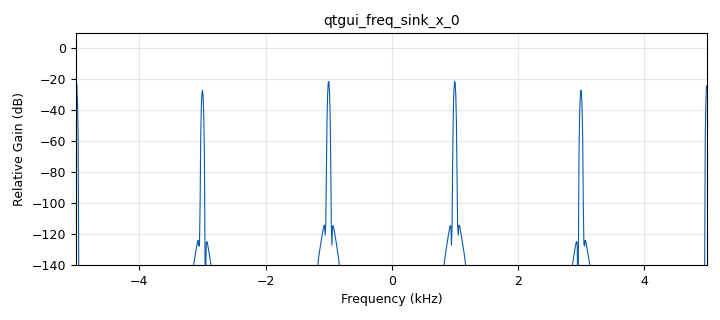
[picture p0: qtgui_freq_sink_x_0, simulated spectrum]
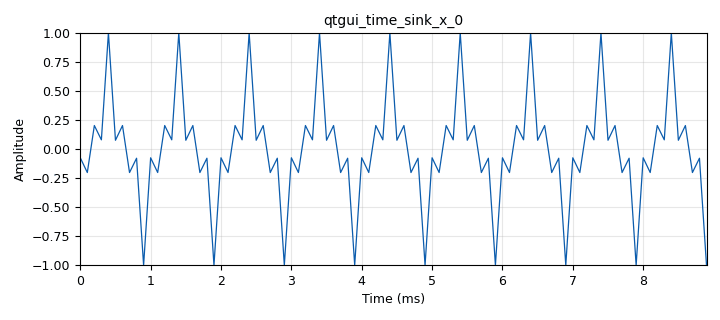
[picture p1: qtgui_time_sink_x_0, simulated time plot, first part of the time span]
options:
  parameters:
    author: J1A-5
    generate_options: qt_gui
    id: multiply
    output_language: python
    title: multiply
  states: {}

blocks:
- name: freq_a
  id: variable_qtgui_range
  parameters:
    label: Frecuencia de Muestreo1
    start: '1000'
    step: '1000'
    stop: '40000'
    value: '1000'
  states: {}
- name: freq_b
  id: variable_qtgui_range
  parameters:
    label: Frecuencia de Muestreo2
    start: '1000'
    step: '1000'
    stop: '40000'
    value: '2000'
  states: {}
- name: freq_c
  id: variable_qtgui_range
  parameters:
    label: Frecuencia de Muestreo3
    start: '1000'
    step: '1000'
    stop: '40000'
    value: '2000'
  states: {}
- name: samp_rate
  id: variable
  parameters:
    value: '10000'
  states: {}
- name: analog_sig_source_x_0
  id: analog_sig_source_x
  parameters:
    amp: '1'
    freq: freq_c
    offset: '0'
    phase: '0'
    samp_rate: samp_rate
    type: float
    waveform: analog.GR_COS_WAVE
  states: {}
- name: analog_sig_source_x_0_0
  id: analog_sig_source_x
  parameters:
    amp: '1'
    freq: freq_a
    offset: '0'
    phase: '0'
    samp_rate: samp_rate
    type: float
    waveform: analog.GR_COS_WAVE
  states: {}
- name: analog_sig_source_x_0_1
  id: analog_sig_source_x
  parameters:
    amp: '1'
    freq: freq_b
    offset: '0'
    phase: '0'
    samp_rate: samp_rate
    type: float
    waveform: analog.GR_COS_WAVE
  states: {}
- name: blocks_multiply_xx_0
  id: blocks_multiply_xx
  parameters:
    num_inputs: '3'
    type: float
  states: {}
- name: blocks_throttle_0
  id: blocks_throttle
  parameters:
    samples_per_second: samp_rate
    type: float
  states: {}
- name: qtgui_freq_sink_x_0
  id: qtgui_freq_sink_x
  parameters:
    average: '0.05'
    bw: samp_rate
    fc: '0'
    fftsize: '1024'
    type: float
  states: {}
- name: qtgui_time_sink_x_0
  id: qtgui_time_sink_x
  parameters:
    size: '1024'
    srate: samp_rate
    type: float
  states: {}

connections:
- [analog_sig_source_x_0, '0', blocks_multiply_xx_0, '2']
- [analog_sig_source_x_0_0, '0', blocks_multiply_xx_0, '0']
- [analog_sig_source_x_0_1, '0', blocks_multiply_xx_0, '1']
- [blocks_multiply_xx_0, '0', blocks_throttle_0, '0']
- [blocks_throttle_0, '0', qtgui_freq_sink_x_0, '0']
- [blocks_throttle_0, '0', qtgui_time_sink_x_0, '0']

metadata:
  file_format: 1
